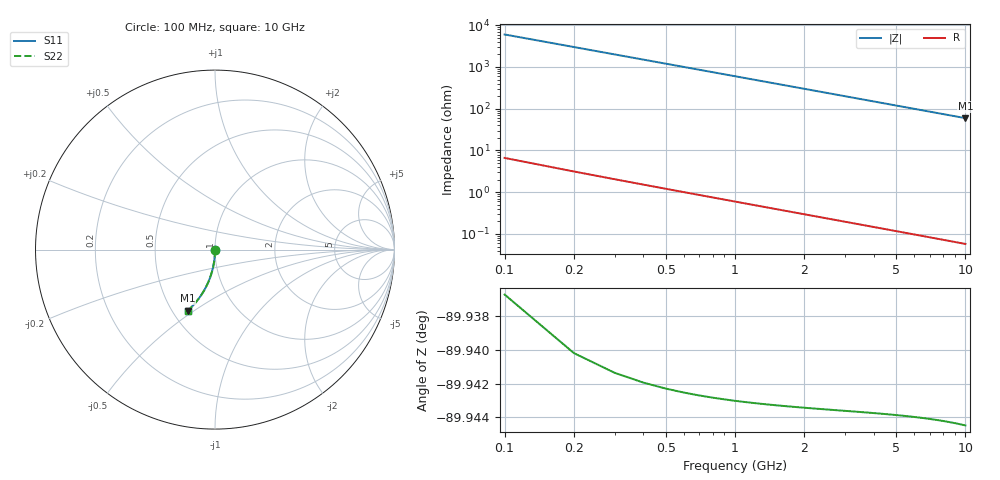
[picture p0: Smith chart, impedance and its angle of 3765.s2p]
# Hz S RI R 50.00
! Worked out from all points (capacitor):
!   100 points, 100 MHz to 10 GHz, reference 50 ohm
!   read as one part in shunt: C = 265 fF near 100 MHz
!   lowest |Z| = 59.5 ohm at 10 GHz (marker M1)
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1e8  2.09e-05 -0.00398  0.9999 -0.00434  0.9999 -0.00434  2.09e-05 -0.00398
2e8  -3.47e-05 -0.00796  0.9999 -0.00868  0.9999 -0.00868  -3.47e-05 -0.00796
3e8  -0.000125 -0.0119  0.9998 -0.013  0.9998 -0.013  -0.000125 -0.0119
4e8  -0.00025 -0.0159  0.9997 -0.0174  0.9997 -0.0174  -0.00025 -0.0159
5e8  -0.000409 -0.0199  0.9995 -0.0217  0.9995 -0.0217  -0.000409 -0.0199
6e8  -0.000603 -0.0239  0.9993 -0.026  0.9993 -0.026  -0.000603 -0.0239
7e8  -0.000831 -0.0278  0.9991 -0.0304  0.9991 -0.0304  -0.000831 -0.0278
8e8  -0.00109 -0.0318  0.9988 -0.0347  0.9988 -0.0347  -0.00109 -0.0318
9e8  -0.00139 -0.0358  0.9985 -0.039  0.9985 -0.039  -0.00139 -0.0358
1.1e9  -0.00209 -0.0437  0.9978 -0.0477  0.9978 -0.0477  -0.00209 -0.0437
1.4e9  -0.00339 -0.0556  0.9965 -0.0606  0.9965 -0.0606  -0.00339 -0.0556
1.8e9  -0.00561 -0.0713  0.9943 -0.0778  0.9943 -0.0778  -0.00561 -0.0713
2.1e9  -0.00763 -0.0831  0.9922 -0.0907  0.9922 -0.0907  -0.00763 -0.0831
2.5e9  -0.0108 -0.0986  0.9891 -0.1077  0.9891 -0.1077  -0.0108 -0.0986
2.9e9  -0.0145 -0.1141  0.9854 -0.1246  0.9854 -0.1246  -0.0145 -0.1141
3.4e9  -0.0198 -0.1331  0.98 -0.1454  0.98 -0.1454  -0.0198 -0.1331
4.2e9  -0.03 -0.1629  0.9697 -0.1782  0.9697 -0.1782  -0.03 -0.1629
5.1e9  -0.0438 -0.1952  0.9559 -0.2138  0.9559 -0.2138  -0.0438 -0.1952
5.9e9  -0.0579 -0.2226  0.9417 -0.2442  0.9417 -0.2442  -0.0579 -0.2226
6.7e9  -0.0737 -0.2487  0.9259 -0.2733  0.9259 -0.2733  -0.0737 -0.2487
8.4e9  -0.1117 -0.2993  0.8878 -0.3303  0.8878 -0.3303  -0.1117 -0.2993
1e10  -0.1518 -0.3402  0.8474 -0.3773  0.8474 -0.3773  -0.1518 -0.3402
